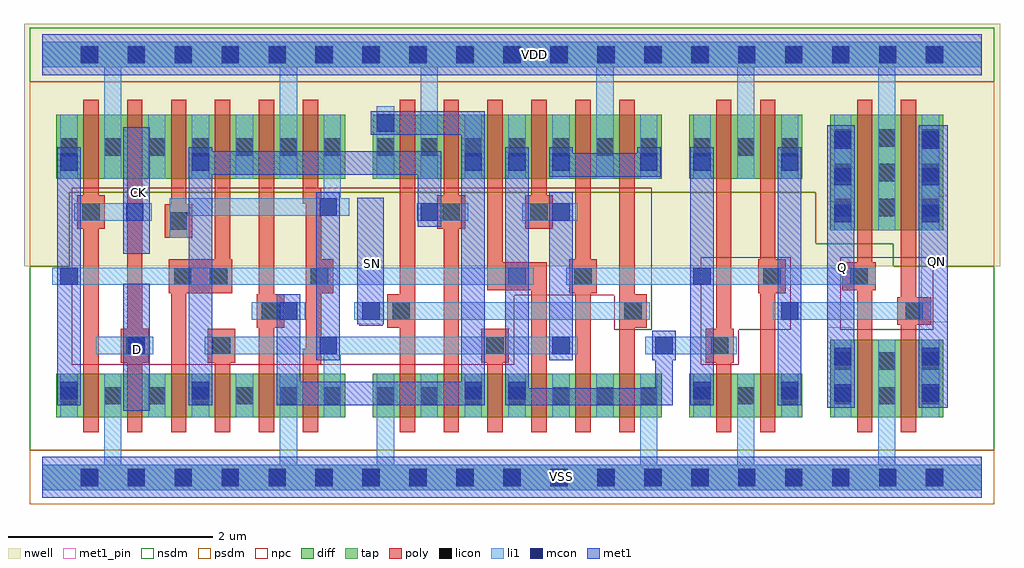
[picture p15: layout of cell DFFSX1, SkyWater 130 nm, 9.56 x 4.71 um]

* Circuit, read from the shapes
.subckt DFFSX1 CK D Q QN SN VDD VSS
XM1 VSS CK n1 VSS sky130_fd_pr__nfet_01v8 w=0.425 l=0.15
XM2 n2 D VSS VSS sky130_fd_pr__nfet_01v8 w=0.425 l=0.15
XM3 n3 n1 n2 VSS sky130_fd_pr__nfet_01v8 w=0.425 l=0.15
XM4 n4 n5 n3 VSS sky130_fd_pr__nfet_01v8 w=0.425 l=0.15
XM5 VSS n6 n4 VSS sky130_fd_pr__nfet_01v8 w=0.425 l=0.15
XM6 n5 n1 VSS VSS sky130_fd_pr__nfet_01v8 w=0.425 l=0.15
XM7 n7 SN VSS VSS sky130_fd_pr__nfet_01v8 w=0.425 l=0.15
XM8 n6 n3 n7 VSS sky130_fd_pr__nfet_01v8 w=0.425 l=0.15
XM9 n8 n5 n6 VSS sky130_fd_pr__nfet_01v8 w=0.425 l=0.15
XM10 n9 n1 n8 VSS sky130_fd_pr__nfet_01v8 w=0.425 l=0.15
XM11 n10 n11 n9 VSS sky130_fd_pr__nfet_01v8 w=0.425 l=0.15
XM12 VSS SN n10 VSS sky130_fd_pr__nfet_01v8 w=0.425 l=0.15
XM13 VSS n8 n11 VSS sky130_fd_pr__nfet_01v8 w=0.425 l=0.15
XM14 n12 n11 VSS VSS sky130_fd_pr__nfet_01v8 w=0.425 l=0.15
XM15 VSS n11 Q VSS sky130_fd_pr__nfet_01v8 w=0.76 l=0.15
XM16 QN n12 VSS VSS sky130_fd_pr__nfet_01v8 w=0.76 l=0.15
XM17 VDD CK n1 VDD sky130_fd_pr__pfet_01v8 w=0.625 l=0.15
XM18 n13 D VDD VDD sky130_fd_pr__pfet_01v8 w=0.625 l=0.15
XM19 n3 n5 n13 VDD sky130_fd_pr__pfet_01v8 w=0.625 l=0.15
XM20 n14 n1 n3 VDD sky130_fd_pr__pfet_01v8 w=0.625 l=0.15
XM21 VDD n6 n14 VDD sky130_fd_pr__pfet_01v8 w=0.625 l=0.15
XM22 n5 n1 VDD VDD sky130_fd_pr__pfet_01v8 w=0.625 l=0.15
XM23 VDD SN n6 VDD sky130_fd_pr__pfet_01v8 w=0.625 l=0.15
XM24 n6 n3 VDD VDD sky130_fd_pr__pfet_01v8 w=0.625 l=0.15
XM25 n8 n1 n6 VDD sky130_fd_pr__pfet_01v8 w=0.625 l=0.15
XM26 n15 n5 n8 VDD sky130_fd_pr__pfet_01v8 w=0.625 l=0.15
XM27 VDD n11 n15 VDD sky130_fd_pr__pfet_01v8 w=0.625 l=0.15
XM28 n15 SN VDD VDD sky130_fd_pr__pfet_01v8 w=0.625 l=0.15
XM29 VDD n8 n11 VDD sky130_fd_pr__pfet_01v8 w=0.625 l=0.15
XM30 n12 n11 VDD VDD sky130_fd_pr__pfet_01v8 w=0.625 l=0.15
XM31 VDD n11 Q VDD sky130_fd_pr__pfet_01v8 w=1.13 l=0.15
XM32 QN n12 VDD VDD sky130_fd_pr__pfet_01v8 w=1.13 l=0.15
.ends

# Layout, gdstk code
from math import pi, radians
import gdstk
lib = gdstk.Library(unit=1e-6, precision=1e-09)
def R(c, l, rs):  # rectangles x0, y0, x1, y1
    for r in rs: c.add(gdstk.rectangle(r[:2], r[2:], *l))
def A(c, l, x, y, w, h, nx, ny, dx, dy):  # array of equal rectangles
    R(c, l, [(x+i*dx, y+j*dy, x+i*dx+w, y+j*dy+h) for i in range(nx) for j in range(ny)])
def P(c, l, *ps):  # polygons
    for p in ps: c.add(gdstk.Polygon(p, *l))
nwell = (64, 20)
diff = (65, 20)
tap = (65, 44)
poly = (66, 20)
licon = (66, 44)
li1 = (67, 20)
mcon = (67, 44)
met1_pin = (68, 16)
met1 = (68, 20)
nsdm = (93, 44)
psdm = (94, 20)
npc = (95, 20)

licondiff_c_cdns_7515547 = lib.new_cell('LICONDIFF_C_CDNS_751554744755')
R(licondiff_c_cdns_7515547, diff, [(-0.125,-0.145,0.125,0.145)])
R(licondiff_c_cdns_7515547, licon, [(-0.085,-0.085,0.085,0.085), (-0.085,-0.085,0.085,0.085)])

pyl1con_c_cdns_751554744 = lib.new_cell('PYL1CON_C_CDNS_751554744751')
R(pyl1con_c_cdns_751554744, poly, [(-0.135,-0.165,0.135,0.165)])
R(pyl1con_c_cdns_751554744, licon, [(-0.085,-0.085,0.085,0.085)])
R(pyl1con_c_cdns_751554744, npc, [(-0.185,-0.185,0.185,0.185)])

c_pyl1con_c_cdns_751554744 = lib.new_cell('PYL1CON_C_CDNS_751554744754')
R(c_pyl1con_c_cdns_751554744, poly, [(-0.135,-0.29,0.135,0.29)])
R(c_pyl1con_c_cdns_751554744, licon, [(-0.085,-0.085,0.085,0.085)])
R(c_pyl1con_c_cdns_751554744, npc, [(-0.185,-0.185,0.185,0.185)])

l1m1_c_cdns_751554744750 = lib.new_cell('L1M1_C_CDNS_751554744750$$19')
R(l1m1_c_cdns_751554744750, li1, [(-0.085,-0.085,0.085,0.085)])
R(l1m1_c_cdns_751554744750, mcon, [(-0.085,-0.085,0.085,0.085)])
R(l1m1_c_cdns_751554744750, met1, [(-0.115,-0.145,0.115,0.145)])

c_l1m1_c_cdns_751554744750 = lib.new_cell('L1M1_C_CDNS_751554744750$$20')
R(c_l1m1_c_cdns_751554744750, li1, [(-0.125,-0.085,0.125,0.085)])
R(c_l1m1_c_cdns_751554744750, mcon, [(-0.085,-0.085,0.085,0.085)])
R(c_l1m1_c_cdns_751554744750, met1, [(-0.115,-0.145,0.115,0.145)])

c_l1m1_c_cdns_751554744750_ = lib.new_cell('L1M1_C_CDNS_751554744750$$8')
R(c_l1m1_c_cdns_751554744750_, li1, [(-0.085,-0.165,0.085,0.165)])
R(c_l1m1_c_cdns_751554744750_, mcon, [(-0.085,-0.085,0.085,0.085)])
R(c_l1m1_c_cdns_751554744750_, met1, [(-0.115,-0.145,0.115,0.145)])

c_l1m1_c_cdns_751554744750__ = lib.new_cell('L1M1_C_CDNS_751554744750$$9')
R(c_l1m1_c_cdns_751554744750__, li1, [(-0.165,-0.085,0.165,0.085)])
R(c_l1m1_c_cdns_751554744750__, mcon, [(-0.085,-0.085,0.085,0.085)])
R(c_l1m1_c_cdns_751554744750__, met1, [(-0.115,-0.145,0.115,0.145)])

c_l1m1_c_cdns_751554744750___ = lib.new_cell('L1M1_C_CDNS_751554744750$$11')
R(c_l1m1_c_cdns_751554744750___, li1, [(-0.085,-0.525,0.085,0.525)])
A(c_l1m1_c_cdns_751554744750___, mcon, -0.085, -0.445, 0.17, 0.17, 1, 3, 0, 0.36)
R(c_l1m1_c_cdns_751554744750___, met1, [(-0.115,-0.505,0.115,0.505)])

c_l1m1_c_cdns_751554744750____ = lib.new_cell('L1M1_C_CDNS_751554744750$$7')
R(c_l1m1_c_cdns_751554744750____, li1, [(-0.085,-0.345,0.085,0.345)])
R(c_l1m1_c_cdns_751554744750____, mcon, [(-0.085,-0.265,0.085,-0.095), (-0.085,0.095,0.085,0.265)])
R(c_l1m1_c_cdns_751554744750____, met1, [(-0.115,-0.325,0.115,0.325)])

c_l1m1_c_cdns_751554744750_____ = lib.new_cell('L1M1_C_CDNS_751554744750$$13')
R(c_l1m1_c_cdns_751554744750_____, li1, [(-0.085,-0.165,0.085,0.165)])
R(c_l1m1_c_cdns_751554744750_____, mcon, [(-0.085,-0.085,0.085,0.085)])
R(c_l1m1_c_cdns_751554744750_____, met1, [(-0.145,-0.115,0.145,0.115)])

dffsx1 = lib.new_cell('DFFSX1')
R(dffsx1, nwell, [(-0.18,2.07,9.38,4.445)])
R(dffsx1, diff, [(0.135,0.59,2.965,1.015), (3.235,0.59,6.065,1.015), (6.335,0.59,7.445,1.015), (7.715,0.59,8.825,1.35), (7.715,2.42,8.825,3.55), (0.135,2.925,2.965,3.55), (3.235,2.925,6.065,3.55), (6.335,2.925,7.445,3.55)])
R(dffsx1, poly, [(0.4,0.44,0.55,3.7), (0.83,0.44,0.98,3.7), (1.69,0.44,1.84,1.165), (2.12,0.44,2.27,3.7), (3.5,0.44,3.65,3.7), (3.93,0.44,4.08,3.7), (4.36,0.44,4.51,1.165), (5.22,0.44,5.37,3.7), (5.65,0.44,5.8,3.7), (6.6,0.44,6.75,3.7), (7.03,0.44,7.18,3.7), (7.98,0.44,8.13,3.7), (8.41,0.44,8.56,3.7), (1.26,2.51,1.41,3.7), (4.79,2.725,4.94,3.7)])
P(dffsx1, poly, [(1.86,2.135),(1.84,2.135),(1.84,3.7),(1.69,3.7),(1.69,2.135),(1.24,2.135),(1.24,1.805),(1.26,1.805),(1.26,0.44),(1.41,0.44),(1.41,1.805),(1.86,1.805)],
  [(2.73,2.83),(2.7,2.83),(2.7,3.7),(2.55,3.7),(2.55,2.68),(2.58,2.68),(2.58,1.26),(2.55,1.26),(2.55,0.44),(2.7,0.44),(2.7,1.11),(2.73,1.11)],
  [(4.94,2.045),(4.51,2.045),(4.51,3.7),(4.36,3.7),(4.36,1.895),(4.79,1.895),(4.79,0.44),(4.94,0.44)])
A(dffsx1, licon, 0.375, -0.085, 0.17, 0.17, 19, 2, 0.46, 4.14)
A(dffsx1, licon, 0.605, 0.715, 0.17, 0.17, 3, 2, 0.86, 2.435)
A(dffsx1, licon, 6.375, 0.715, 0.17, 0.17, 3, 2, 0.43, 2.435)
A(dffsx1, licon, 7.755, 0.715, 0.17, 0.17, 3, 2, 0.43, 0.34)
A(dffsx1, licon, 7.755, 2.56, 0.17, 0.17, 3, 3, 0.43, 0.34)
A(dffsx1, licon, 3.275, 3.15, 0.17, 0.17, 7, 1, 0.43, 0)
R(dffsx1, licon, [(0.175,0.715,0.345,0.885), (2.755,0.715,2.925,0.885), (3.275,0.715,3.445,0.885), (4.135,0.715,4.305,0.885), (4.565,0.715,4.735,0.885), (5.855,0.715,6.025,0.885), (0.175,3.15,0.345,3.32), (2.755,3.15,2.925,3.32)])
A(dffsx1, li1, 4.135, 2.925, 0.17, 0.625, 3, 1, 0.43, 0)
R(dffsx1, li1, [(0.175,0.59,0.345,1.015), (1.465,0.59,1.635,1.015), (4.135,0.59,4.305,1.015), (4.565,0.59,4.735,1.015), (6.375,0.59,6.545,1.015), (7.235,0.59,7.405,1.015), (7.755,0.59,7.925,1.35), (8.615,0.59,8.785,1.35), (7.755,2.42,7.925,3.55), (8.615,2.42,8.785,3.55), (0.31,2.515,0.855,2.685), (0.175,2.925,0.345,3.55), (1.465,2.925,1.635,3.55), (3.275,2.925,3.445,3.55), (5.855,2.925,6.025,3.55), (6.375,2.925,6.545,3.55), (7.235,2.925,7.405,3.55)])
P(dffsx1, li1, [(3.005,2.735),(2.925,2.735),(2.925,3.55),(2.755,3.55),(2.755,2.735),(1.25,2.735),(1.25,2.345),(1.42,2.345),(1.42,2.565),(3.005,2.565)],
  [(5.245,1.375),(1.59,1.375),(1.59,1.205),(2.755,1.205),(2.755,0.59),(2.925,0.59),(2.925,1.205),(5.245,1.205)],
  [(9.2,4.265),(0,4.265),(0,4.015),(0.605,4.015),(0.605,2.925),(0.775,2.925),(0.775,4.015),(2.325,4.015),(2.325,2.925),(2.495,2.925),(2.495,4.015),(3.705,4.015),(3.705,2.925),(3.875,2.925),(3.875,4.015),(5.425,4.015),(5.425,2.925),(5.595,2.925),(5.595,4.015),(6.805,4.015),(6.805,2.925),(6.975,2.925),(6.975,4.015),(8.185,4.015),(8.185,2.42),(8.355,2.42),(8.355,4.015),(9.2,4.015)],
  [(9.2,0.125),(8.355,0.125),(8.355,1.35),(8.185,1.35),(8.185,0.125),(6.975,0.125),(6.975,1.015),(6.805,1.015),(6.805,0.125),(6.025,0.125),(6.025,1.015),(5.855,1.015),(5.855,0.125),(3.445,0.125),(3.445,1.015),(3.275,1.015),(3.275,0.125),(2.495,0.125),(2.495,1.015),(2.325,1.015),(2.325,0.125),(0.775,0.125),(0.775,1.015),(0.605,1.015),(0.605,0.125),(0,0.125),(0,-0.125),(9.2,-0.125)])
A(dffsx1, mcon, 0.375, -0.085, 0.17, 0.17, 19, 2, 0.46, 4.14)
R(dffsx1, met1_pin, [(0.79,0.655,1.05,1.895), (7.69,1.465,7.95,2.705), (3.085,1.5,3.345,2.74), (8.61,1.52,8.87,2.76), (0.79,2.19,1.05,3.43)])
R(dffsx1, met1, [(8.585,0.68,8.87,3.45)])
P(dffsx1, met1, [(6.175,1.3),(6.005,1.3),(6.005,0.875),(4.765,0.875),(4.765,3.235),(4.535,3.235),(4.535,0.705),(6.175,0.705)])
R(dffsx1, nsdm, [(-0.125,3.875,9.325,4.405)])
P(dffsx1, nsdm, [(9.325,2.07),(8.335,2.07),(8.335,2.29),(7.575,2.29),(7.575,2.795),(0.265,2.795),(0.265,2.07),(-0.125,2.07),(-0.125,0.265),(9.325,0.265)])
R(dffsx1, psdm, [(-0.125,-0.265,9.325,0.265)])
P(dffsx1, psdm, [(9.325,3.875),(-0.125,3.875),(-0.125,2.07),(0.265,2.07),(0.265,2.795),(7.575,2.795),(7.575,2.29),(8.335,2.29),(8.335,2.07),(9.325,2.07)])
R(dffsx1, npc, [(6.45,1.445,7.33,2.155), (7.815,1.445,8.725,2.155)])
P(dffsx1, npc, [(5.97,2.835),(0.29,2.835),(0.29,1.105),(4.62,1.105),(4.62,1.785),(5.97,1.785)])
dffsx1.add(gdstk.FlexPath([(7.155,1.63),(8.705,1.63)], 0.17, ends="flush", simple_path=True, layer=67, datatype=20))  # li1
dffsx1.add(gdstk.FlexPath([(3.79,0.59),(3.79,1.015)], 0.17, ends="flush", simple_path=True, layer=67, datatype=20))  # li1
dffsx1.add(gdstk.FlexPath([(5.13,1.97),(8.165,1.97)], 0.17, ends="flush", simple_path=True, layer=67, datatype=20))  # li1
dffsx1.add(gdstk.FlexPath([(0.525,1.29),(1.07,1.29)], 0.17, ends="flush", simple_path=True, layer=67, datatype=20))  # li1
dffsx1.add(gdstk.FlexPath([(5.95,1.63),(3.105,1.63)], 0.17, ends="flush", simple_path=True, layer=67, datatype=20))  # li1
dffsx1.add(gdstk.FlexPath([(2.575,1.63),(2.05,1.63)], 0.17, ends="flush", simple_path=True, layer=67, datatype=20))  # li1
dffsx1.add(gdstk.FlexPath([(5.51,0.59),(5.51,1.015)], 0.17, ends="flush", simple_path=True, layer=67, datatype=20))  # li1
dffsx1.add(gdstk.FlexPath([(5.08,0.59),(5.08,1.015)], 0.17, ends="flush", simple_path=True, layer=67, datatype=20))  # li1
dffsx1.add(gdstk.FlexPath([(1.98,2.925),(1.98,3.55)], 0.17, ends="flush", simple_path=True, layer=67, datatype=20))  # li1
dffsx1.add(gdstk.FlexPath([(1.98,0.59),(1.98,1.015)], 0.17, ends="flush", simple_path=True, layer=67, datatype=20))  # li1
dffsx1.add(gdstk.FlexPath([(0.095,1.97),(4.815,1.97)], 0.17, ends="flush", simple_path=True, layer=67, datatype=20))  # li1
dffsx1.add(gdstk.FlexPath([(3.665,2.6),(4.17,2.6)], 0.17, ends="flush", simple_path=True, layer=67, datatype=20))  # li1
dffsx1.add(gdstk.FlexPath([(1.12,2.925),(1.12,3.55)], 0.17, ends="flush", simple_path=True, layer=67, datatype=20))  # li1
dffsx1.add(gdstk.FlexPath([(1.12,0.59),(1.12,1.015)], 0.17, ends="flush", simple_path=True, layer=67, datatype=20))  # li1
dffsx1.add(gdstk.FlexPath([(4.7,2.6),(5.245,2.6)], 0.17, ends="flush", simple_path=True, layer=67, datatype=20))  # li1
dffsx1.add(gdstk.FlexPath([(5.905,1.29),(6.8,1.29)], 0.17, ends="flush", simple_path=True, layer=67, datatype=20))  # li1
dffsx1.add(gdstk.FlexPath([(0,0),(9.2,0)], 0.25, ends="flush", simple_path=True, layer=65, datatype=44))  # tap
dffsx1.add(gdstk.FlexPath([(0,4.14),(9.2,4.14)], 0.25, ends="flush", simple_path=True, layer=65, datatype=44))  # tap
dffsx1.add(gdstk.FlexPath([(2.41,1.795),(2.41,0.82),(4.22,0.82),(4.22,3.47),(3.215,3.47)], 0.23, ends="flush", simple_path=True, layer=68, datatype=20))  # met1
dffsx1.add(gdstk.FlexPath([(2.8,1.145),(2.8,2.795)], 0.23, ends="flush", simple_path=True, layer=68, datatype=20))  # met1
dffsx1.add(gdstk.FlexPath([(0,0),(9.2,0)], 0.4, ends="flush", simple_path=True, layer=68, datatype=20))  # met1
dffsx1.add(gdstk.FlexPath([(7.32,0.705),(7.32,3.235)], 0.23, ends="flush", simple_path=True, layer=68, datatype=20))  # met1
dffsx1.add(gdstk.FlexPath([(0,4.14),(9.2,4.14)], 0.4, ends="flush", simple_path=True, layer=68, datatype=20))  # met1
dffsx1.add(gdstk.FlexPath([(0.26,0.705),(0.26,3.235)], 0.23, ends="flush", simple_path=True, layer=68, datatype=20))  # met1
dffsx1.add(gdstk.FlexPath([(4.965,3.06),(6.055,3.06)], 0.23, ends="flush", simple_path=True, layer=68, datatype=20))  # met1
dffsx1.add(gdstk.FlexPath([(7.82,0.68),(7.82,3.45)], 0.26, ends="flush", simple_path=True, layer=68, datatype=20))  # met1
dffsx1.add(gdstk.FlexPath([(0.92,0.655),(0.92,1.895)], 0.26, ends="flush", simple_path=True, layer=68, datatype=20))  # met1
dffsx1.add(gdstk.FlexPath([(3.79,2.505),(3.79,3.08),(1.55,3.08),(1.55,0.705)], 0.23, ends="flush", simple_path=True, layer=68, datatype=20))  # met1
dffsx1.add(gdstk.FlexPath([(3.215,1.5),(3.215,2.74)], 0.26, ends="flush", simple_path=True, layer=68, datatype=20))  # met1
dffsx1.add(gdstk.FlexPath([(0.92,2.19),(0.92,3.43)], 0.26, ends="flush", simple_path=True, layer=68, datatype=20))  # met1
dffsx1.add(gdstk.FlexPath([(6.46,0.705),(6.46,3.235)], 0.23, ends="flush", simple_path=True, layer=68, datatype=20))  # met1
dffsx1.add(gdstk.FlexPath([(5.08,1.145),(5.08,2.795)], 0.23, ends="flush", simple_path=True, layer=68, datatype=20))  # met1
dffsx1.add(gdstk.FlexPath([(0,0),(9.2,0)], 0.4, ends="flush", simple_path=True, layer=68, datatype=16))  # met1_pin
dffsx1.add(gdstk.FlexPath([(0,4.14),(9.2,4.14)], 0.4, ends="flush", simple_path=True, layer=68, datatype=16))  # met1_pin
dffsx1.add(gdstk.Reference(licondiff_c_cdns_7515547, (1.98,0.8)))
dffsx1.add(gdstk.Reference(licondiff_c_cdns_7515547, (5.51,0.8)))
dffsx1.add(gdstk.Reference(licondiff_c_cdns_7515547, (5.08,0.8)))
dffsx1.add(gdstk.Reference(licondiff_c_cdns_7515547, (3.79,0.8)))
dffsx1.add(gdstk.Reference(licondiff_c_cdns_7515547, (1.98,3.235)))
dffsx1.add(gdstk.Reference(licondiff_c_cdns_7515547, (1.12,3.235)))
dffsx1.add(gdstk.Reference(licondiff_c_cdns_7515547, (1.12,0.8)))
dffsx1.add(gdstk.Reference(pyl1con_c_cdns_751554744, (2.235,1.63), rotation=pi))
dffsx1.add(gdstk.Reference(pyl1con_c_cdns_751554744, (3.515,1.63), x_reflection=True))
dffsx1.add(gdstk.Reference(pyl1con_c_cdns_751554744, (0.475,2.6), rotation=pi))
dffsx1.add(gdstk.Reference(pyl1con_c_cdns_751554744, (0.905,1.29), x_reflection=True))
dffsx1.add(gdstk.Reference(pyl1con_c_cdns_751554744, (1.375,1.97), rotation=pi, x_reflection=True))
dffsx1.add(gdstk.Reference(pyl1con_c_cdns_751554744, (2.715,1.97)))
dffsx1.add(gdstk.Reference(pyl1con_c_cdns_751554744, (5.785,1.63), x_reflection=True))
dffsx1.add(gdstk.Reference(pyl1con_c_cdns_751554744, (1.725,1.97), rotation=pi, x_reflection=True))
dffsx1.add(gdstk.Reference(pyl1con_c_cdns_751554744, (5.295,1.97), rotation=pi, x_reflection=True))
dffsx1.add(gdstk.Reference(pyl1con_c_cdns_751554744, (4.435,1.29), x_reflection=True))
dffsx1.add(gdstk.Reference(pyl1con_c_cdns_751554744, (1.755,1.29), x_reflection=True))
dffsx1.add(gdstk.Reference(pyl1con_c_cdns_751554744, (1.335,2.51), rotation=pi))
dffsx1.add(gdstk.Reference(pyl1con_c_cdns_751554744, (4.865,2.6), rotation=pi))
dffsx1.add(gdstk.Reference(pyl1con_c_cdns_751554744, (6.635,1.29), rotation=pi, x_reflection=True))
dffsx1.add(gdstk.Reference(pyl1con_c_cdns_751554744, (8.54,1.63), rotation=3*pi/2, x_reflection=True))
dffsx1.add(gdstk.Reference(pyl1con_c_cdns_751554744, (7.145,1.97), x_reflection=True))
dffsx1.add(gdstk.Reference(pyl1con_c_cdns_751554744, (8,1.97), rotation=3*pi/2, x_reflection=True))
dffsx1.add(gdstk.Reference(pyl1con_c_cdns_751554744, (4.005,2.6), rotation=pi))
dffsx1.add(gdstk.Reference(c_pyl1con_c_cdns_751554744, (4.65,1.97), rotation=pi/2))
dffsx1.add(gdstk.Reference(l1m1_c_cdns_751554744750, (6.09,1.29)))
dffsx1.add(gdstk.Reference(c_l1m1_c_cdns_751554744750, (3.79,2.6), rotation=pi, x_reflection=True))
dffsx1.add(gdstk.Reference(c_l1m1_c_cdns_751554744750_, (4.65,3.09), rotation=pi, x_reflection=True))
dffsx1.add(gdstk.Reference(c_l1m1_c_cdns_751554744750_, (4.65,0.85), rotation=pi, x_reflection=True))
dffsx1.add(gdstk.Reference(c_l1m1_c_cdns_751554744750_, (6.46,3.09), rotation=pi, x_reflection=True))
dffsx1.add(gdstk.Reference(c_l1m1_c_cdns_751554744750_, (6.46,0.85), rotation=pi, x_reflection=True))
dffsx1.add(gdstk.Reference(c_l1m1_c_cdns_751554744750_, (5.08,3.09), rotation=pi, x_reflection=True))
dffsx1.add(gdstk.Reference(c_l1m1_c_cdns_751554744750_, (0.26,3.09), rotation=pi, x_reflection=True))
dffsx1.add(gdstk.Reference(c_l1m1_c_cdns_751554744750_, (0.26,0.85), rotation=pi, x_reflection=True))
dffsx1.add(gdstk.Reference(c_l1m1_c_cdns_751554744750_, (5.94,3.09), rotation=pi, x_reflection=True))
dffsx1.add(gdstk.Reference(c_l1m1_c_cdns_751554744750_, (4.22,0.85), rotation=pi, x_reflection=True))
dffsx1.add(gdstk.Reference(c_l1m1_c_cdns_751554744750_, (4.22,3.09), rotation=pi, x_reflection=True))
dffsx1.add(gdstk.Reference(c_l1m1_c_cdns_751554744750_, (7.32,0.85), rotation=pi, x_reflection=True))
dffsx1.add(gdstk.Reference(c_l1m1_c_cdns_751554744750_, (1.55,3.09), rotation=pi, x_reflection=True))
dffsx1.add(gdstk.Reference(c_l1m1_c_cdns_751554744750_, (1.55,0.85), rotation=pi, x_reflection=True))
dffsx1.add(gdstk.Reference(c_l1m1_c_cdns_751554744750_, (7.32,3.09), rotation=pi, x_reflection=True))
dffsx1.add(gdstk.Reference(c_l1m1_c_cdns_751554744750__, (3.22,1.63), x_reflection=True))
dffsx1.add(gdstk.Reference(c_l1m1_c_cdns_751554744750__, (0.26,1.97), rotation=pi, x_reflection=True))
dffsx1.add(gdstk.Reference(c_l1m1_c_cdns_751554744750__, (0.905,2.6), x_reflection=True))
dffsx1.add(gdstk.Reference(c_l1m1_c_cdns_751554744750__, (0.92,1.29), x_reflection=True))
dffsx1.add(gdstk.Reference(c_l1m1_c_cdns_751554744750__, (2.8,1.29)))
dffsx1.add(gdstk.Reference(c_l1m1_c_cdns_751554744750__, (7.32,1.63)))
dffsx1.add(gdstk.Reference(c_l1m1_c_cdns_751554744750__, (2.8,2.65)))
dffsx1.add(gdstk.Reference(c_l1m1_c_cdns_751554744750__, (2.41,1.63), rotation=pi, x_reflection=True))
dffsx1.add(gdstk.Reference(c_l1m1_c_cdns_751554744750__, (6.46,1.97), rotation=pi, x_reflection=True))
dffsx1.add(gdstk.Reference(c_l1m1_c_cdns_751554744750__, (5.08,1.29)))
dffsx1.add(gdstk.Reference(c_l1m1_c_cdns_751554744750__, (5.08,2.6)))
dffsx1.add(gdstk.Reference(c_l1m1_c_cdns_751554744750___, (8.7,2.945)))
dffsx1.add(gdstk.Reference(c_l1m1_c_cdns_751554744750___, (7.84,2.945)))
dffsx1.add(gdstk.Reference(c_l1m1_c_cdns_751554744750___, (8.7,2.945)))
dffsx1.add(gdstk.Reference(c_l1m1_c_cdns_751554744750___, (7.84,2.945)))
dffsx1.add(gdstk.Reference(c_l1m1_c_cdns_751554744750____, (8.7,1.005)))
dffsx1.add(gdstk.Reference(c_l1m1_c_cdns_751554744750____, (7.84,1.005)))
dffsx1.add(gdstk.Reference(c_l1m1_c_cdns_751554744750____, (8.7,1.005)))
dffsx1.add(gdstk.Reference(c_l1m1_c_cdns_751554744750____, (7.84,1.005)))
dffsx1.add(gdstk.Reference(c_l1m1_c_cdns_751554744750_____, (3.36,3.47), rotation=pi, x_reflection=True))
dffsx1.add(gdstk.Label('SN', (3.23,2.095), layer=68, texttype=5))
dffsx1.add(gdstk.Label('VSS', (5.085,0.005), layer=68, texttype=5))
dffsx1.add(gdstk.Label('VDD', (4.825,4.145), layer=68, texttype=5))
dffsx1.add(gdstk.Label('D', (0.935,1.25), layer=68, texttype=5))
dffsx1.add(gdstk.Label('QN', (8.755,2.115), layer=68, texttype=5))
dffsx1.add(gdstk.Label('CK', (0.945,2.795), layer=68, texttype=5))
dffsx1.add(gdstk.Label('Q', (7.835,2.06), layer=68, texttype=5))

lib.write_gds('DFFSX1.gds')
